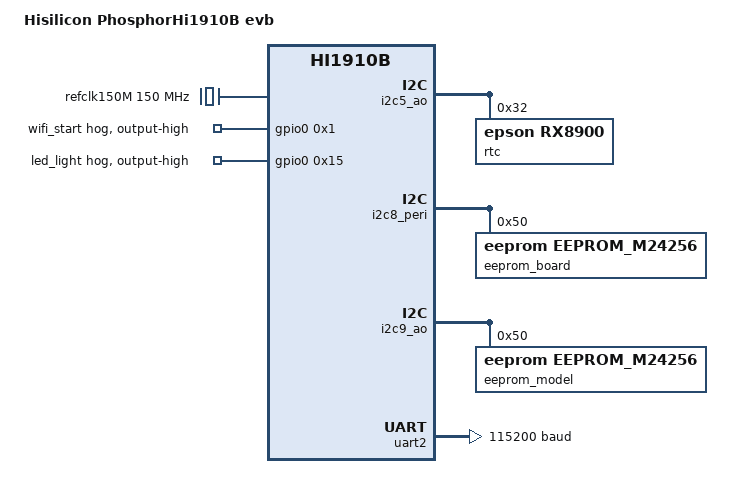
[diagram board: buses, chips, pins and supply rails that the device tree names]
/dts-v1/;

/ {
	compatible = "hisilicon,hi1910B-evb", "hisilicon,ascend610";
	hisi,boardid = <0x0 0x5 0x1 0x1 0x0 0x0>;
	#address-cells = <0x2>;
	#size-cells = <0x2>;
	interrupt-parent = <0x1>;
	model = "Hisilicon PhosphorHi1910B evb";

	/include/ "base/hi1910B-asic-kernel-rc.dtsi"
	/include/ "base/hi1910B-commmon-smmu.dtsi"
	/include/ "base/hi1910B-mpam.dtsi"
	/include/ "base/hi1910B-lp-pm.dtsi"
	/include/ "base/hi1910B-lp-devmng.dtsi"
	/include/ "base/hi1910B-mbigen-ao.dtsi"
	/include/ "base/hi1910B-gpio.dtsi"
	// /include/ "base/hi1910B-bindcore.dtsi"
	// /include/ "base/hi1910B-can.dtsi"
	/include/ "base/hi1910B-emmc.dtsi"
	/include/ "base/hi1910B-ipcdrv.dtsi"
	/include/ "base/hi1910B-ts-drv.dtsi"
	/include/ "base/hi1910B-tsdrv.dtsi"
	/include/ "base/hi1910B-network-M100-B51.dtsi"
	/include/ "base/hi1910B-hidvpp.dtsi"
	/include/ "base/hi1910B-hdmi.dtsi"
	/include/ "product/hi1910B-audio.dtsi"
	/include/ "base/hi1910B-mipitx.dtsi"
	/include/ "base/hi1910B-vdp.dtsi"
	/include/ "base/hi1910B-isp.dtsi"
	/include/ "base/hi1910B-hilink.dtsi"
	/include/ "base/hi1910B-mntn-milanr3.dtsi"
	/include/ "base/hi1910B-gpu.dtsi"
	/include/ "base/hi1910B-ctl.dtsi"
        /include/ "base/hi1910B-itrustee.dtsi"
        /include/ "base/hi1910B-sata.dtsi"
        /include/ "product/hi1910B-pcie-rc-M100-B51.dtsi"
        /include/ "product/hi1910B-pinctrl-M100-B51.dtsi"
	/include/ "product/hi1910B-hiusbc-B51.dtsi"
        /include/ "product/hi1910B-i2c-M100-B51.dtsi"
        /include/ "product/hi1910B-spi-M100-B51.dtsi"
	/include/ "base/hi1910B-abl-qos.dtsi"

	poweroff {
		compatible = "hisi,power_off";
		reg = <0x0 0xc4060000 0x0 0x10000>;
		pinctrl-names = "default", "idle";
		pinctrl-0 = <&poweroff_pmx_func>;
		pinctrl-1 = <&poweroff_pmx_idle>;
	};

	chosen {
		bootargs = "console=ttyAMA0,115200 log_redirect=0x1fc000@0x22741000 root=/dev/mmcblk1p1 rw rdinit=/sbin/init rodata=off syslog earlycon=pl011,mmio32,0xC4010000 loglevel=5 initrd=0x2BA00000,300M rootwait mpam=of enable_ascend_share_pool ascend_enable_all enable_sp_multi_group_mode init_all_gicr enable_fpga no_console_suspend use_kallsyms_lookup_symbol selinux=0 systemd.unified_cgroup_hierarchy=0 fbcon=map:6 movable_node";
	};
};

&eth0 {
	pinctrl-names = "default", "idle";
	pinctrl-0 = <&mdc0_cfg_func &mdio0_cfg_func>;
	pinctrl-1 = <&mdc0_cfg_func &mdio0_cfg_func>;
};

&eth1 {
	pinctrl-names = "default", "idle";
	pinctrl-0 = <&mdc1_cfg_func &mdio1_cfg_func>;
	pinctrl-1 = <&mdc1_cfg_func &mdio1_cfg_func>;
};

&i2c5_ao {
	rtc@32 {
		compatible = "epson,rx8900";
		reg = <0x32>;
	};
};

&hdmi {
	TMDS_DRV_CFG_CH_2_0 = <0x40042805 0x00042805 0x00042805 0x40042905 0x00042905 0x00042905>;
	TMDS_DRV_CFG_CH_1_4 = <0x40021B02 0x00021B02 0x00021B02 0x40021B02 0x00021B02 0x00021B02>;
};

&i2c7_peri {
	pinctrl-names = "default", "idle";
	pinctrl-0 = <&scl7_cfg_func &sda7_cfg_func>;
	pinctrl-1 = <&scl7_cfg_func &sda7_cfg_func>;
};

&i2c8_peri {
	pinctrl-names = "default", "idle";
	pinctrl-0 = <&scl8_cfg_func &sda8_cfg_func>;
	pinctrl-1 = <&scl8_cfg_func &sda8_cfg_func>;

        eeprom_board:eeprom@50 {
                compatible = "eeprom,eeprom_m24256";
                reg = <0x50>;
        };
};

&i2c9_ao {
        eeprom_model:eeprom@50 {
                compatible = "eeprom,eeprom_m24256";
                reg = <0x50>;
        };
};

&{/soc} {
        refclk150M: refclk150M {
            compatible = "fixed-clock";
            #clock-cells = <0>;
            clock-frequency = <150000000>;
            clock-output-names = "refclk";
        };

        uart2: uart@82230000 {
                compatible = "arm,pl011", "arm,primecell";
                reg = < 0x00 0x82230000 0x00 0x1000 >;
                interrupts = < 0x00 0xab 0x04 >;
                current-speed = < 0x1c200 >;
                arm,primecell-periphid = <0x00241011>;
                clocks = <&refclk150M>;
                clock-names = "apb_pclk";
                pinctrl-names = "default", "idle";
                pinctrl-0 = <&uart2_tx_pmx_func &uart2_rx_pmx_func &sfc_cs0n_cfg_func>;
                pinctrl-1 = <&uart2_tx_pmx_idle &uart2_rx_pmx_idle &sfc_cs0n_cfg_func>;
        };
};

&gpio0 {
        wifi_start {
		gpio-hog;
		gpios = <0x1 0x0>;
            	output-high;
            	line-name = "wifi_start";
	};

        led1_light {
                gpio-hog;
                gpios = <0x15 0x0>;
                output-high;
                line-name = "led_light";
        };
};

